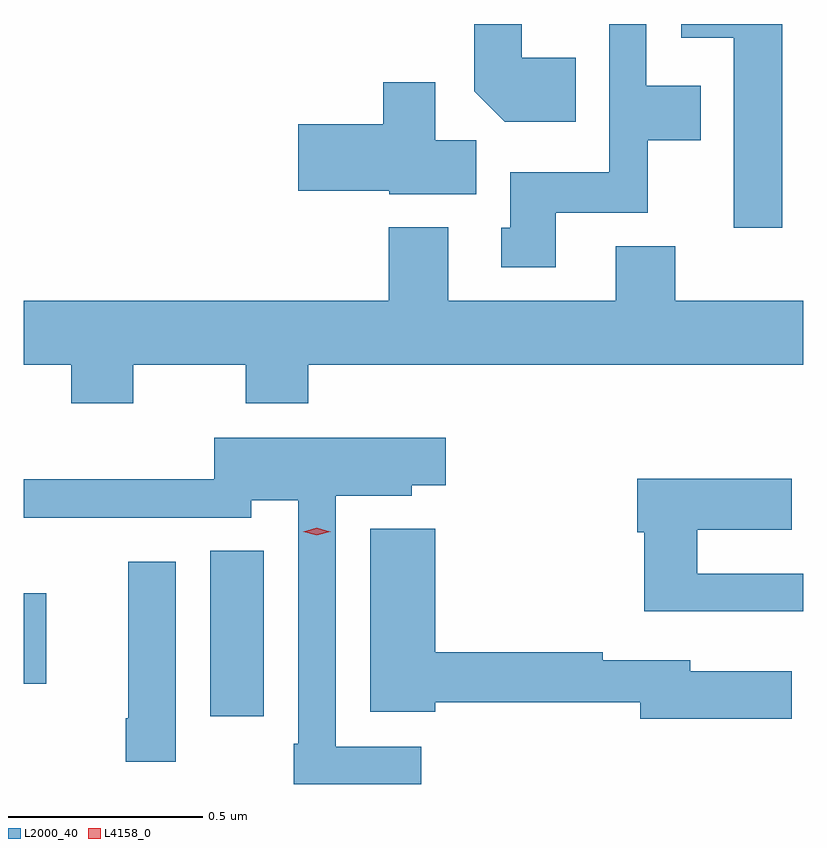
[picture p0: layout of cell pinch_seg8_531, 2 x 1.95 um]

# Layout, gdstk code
import gdstk
lib = gdstk.Library(unit=1e-6, precision=1e-09)
def R(c, l, rs):  # rectangles x0, y0, x1, y1
    for r in rs: c.add(gdstk.rectangle(r[:2], r[2:], *l))
def P(c, l, *ps):  # polygons
    for p in ps: c.add(gdstk.Polygon(p, *l))
L2000_40 = (2000, 40)
L4158_0 = (4158, 0)

pinch_seg8_531 = lib.new_cell('pinch_seg8_531')
R(pinch_seg8_531, L2000_40, [(216.41,1122.258,216.547,1122.683), (215.932,1122.341,215.989,1122.574)])
P(pinch_seg8_531, L2000_40, [(217.297,1123.55),(217.533,1123.55),(217.533,1123.736),(217.669,1123.736),(217.669,1123.876),(217.53,1123.876),(217.53,1124.035),(217.434,1124.035),(217.434,1123.654),(217.181,1123.654),(217.181,1123.512),(217.157,1123.512),(217.157,1123.41),(217.297,1123.41)],
  [(217.879,1124.035),(217.619,1124.035),(217.619,1124),(217.754,1124),(217.754,1123.512),(217.879,1123.512)],
  [(217.349,1123.948),(217.21,1123.948),(217.21,1124.035),(217.088,1124.035),(217.088,1123.862),(217.166,1123.784),(217.349,1123.784)],
  [(217.093,1123.736),(216.988,1123.736),(216.988,1123.885),(216.854,1123.885),(216.854,1123.778),(216.636,1123.778),(216.636,1123.607),(216.87,1123.607),(216.87,1123.598),(217.093,1123.598)],
  [(216.213,1123.16),(216.502,1123.16),(216.502,1123.061),(216.662,1123.061),(216.662,1123.16),(217.932,1123.16),(217.932,1123.324),(217.604,1123.324),(217.604,1123.465),(217.451,1123.465),(217.451,1123.324),(217.021,1123.324),(217.021,1123.513),(216.869,1123.513),(216.869,1123.324),(215.932,1123.324),(215.932,1123.16),(216.053,1123.16),(216.053,1123.061),(216.213,1123.061)],
  [(216.952,1122.18),(216.732,1122.18),(216.732,1122.824),(216.927,1122.824),(216.927,1122.851),(217.015,1122.851),(217.015,1122.973),(216.42,1122.973),(216.42,1122.866),(215.932,1122.866),(215.932,1122.767),(216.007,1122.767),(216.007,1122.768),(216.516,1122.768),(216.516,1122.812),(216.636,1122.812),(216.636,1122.187),(216.624,1122.187),(216.624,1122.084),(216.952,1122.084)],
  [(217.932,1122.624),(217.661,1122.624),(217.661,1122.737),(217.903,1122.737),(217.903,1122.867),(217.507,1122.867),(217.507,1122.73),(217.525,1122.73),(217.525,1122.528),(217.79,1122.528),(217.79,1122.527),(217.932,1122.527)],
  [(217.903,1122.373),(217.642,1122.373),(217.642,1122.402),(217.418,1122.402),(217.418,1122.422),(216.988,1122.422),(216.988,1122.739),(216.821,1122.739),(216.821,1122.269),(216.988,1122.269),(216.988,1122.294),(217.514,1122.294),(217.514,1122.251),(217.903,1122.251)],
  [(216.322,1122.655),(216.2,1122.655),(216.2,1122.253),(216.193,1122.253),(216.193,1122.141),(216.322,1122.141)])
P(pinch_seg8_531, L4158_0, [(216.684,1122.722),(216.649,1122.731),(216.648,1122.731),(216.649,1122.731),(216.683,1122.742),(216.718,1122.732),(216.719,1122.732),(216.718,1122.732)])

lib.write_gds('pinch_seg8_531.gds')
